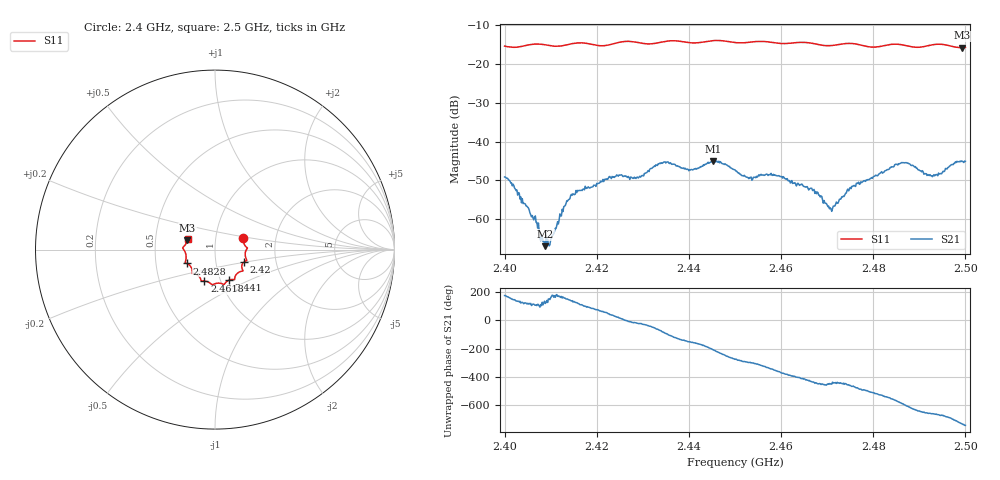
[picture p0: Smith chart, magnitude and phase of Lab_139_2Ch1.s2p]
# Hz S RI R 50
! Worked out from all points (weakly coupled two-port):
!   601 points, 2.4 GHz to 2.5 GHz, reference 50 ohm
!   highest |S21| = -44.96 dB at 2.4453 GHz (marker M1); lowest = -66.9 dB at 2.4088 GHz (marker M2)
!   lowest |S11| = -15.8 dB at 2.4993 GHz (marker M3), VSWR 1.39, Z = 36.5 + j3.84 ohm
!   |S11| at or under -10 dB: start of sweep to end of sweep
!   S12 and S22 are empty: the file has one direction only
!   S11 on the Smith chart (normalised r, x): 2.4 GHz: 1.36, +0.18; 2.42 GHz: 1.36, -0.20; 2.441 GHz: 1.10, -0.39; 2.4618 GHz: 0.84, -0.30; 2.4828 GHz: 0.72, -0.11; 2.5 GHz: 0.73, +0.09
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2.4e9  0.158 0.0628  -0.0035 0.000275  0 0  0 0
2.404833e9  0.1741 0.0147  -0.000661 0.00132  0 0  0 0
2.408833e9  0.1769 0.00261  -0.000224 0.00039  0 0  0 0
2.41e9  0.172 -0.00614  -0.000517 0.000184  0 0  0 0
2.414e9  0.1727 -0.0491  -0.00148 0.00104  0 0  0 0
2.416667e9  0.1775 -0.0608  -0.00086 0.0022  0 0  0 0
2.42e9  0.1594 -0.0704  0.000705 0.00281  0 0  0 0
2.429e9  0.1455 -0.1208  0.00317 -0.00121  0 0  0 0
2.433333e9  0.1117 -0.151  0.00221 -0.00469  0 0  0 0
2.441e9  0.0784 -0.1698  -0.00402 -0.00173  0 0  0 0
2.445333e9  0.0515 -0.1938  -0.00497 0.00269  0 0  0 0
2.45e9  0.0284 -0.1871  0.000351 0.00431  0 0  0 0
2.461833e9  -0.0594 -0.1756  0.00285 -0.00136  0 0  0 0
2.466667e9  -0.0784 -0.1681  0.000755 -0.00239  0 0  0 0
2.471e9  -0.1044 -0.1383  9.67e-06 -0.00126  0 0  0 0
2.475333e9  -0.1271 -0.1331  -0.000701 -0.00256  0 0  0 0
2.482833e9  -0.1574 -0.0769  -0.00427 -8.43e-05  0 0  0 0
2.483333e9  -0.1606 -0.0753  -0.00438 0.000328  0 0  0 0
2.487e9  -0.1629 -0.0598  -0.0029 0.00451  0 0  0 0
2.493e9  -0.1777 0.00436  0.0017 0.00321  0 0  0 0
2.499333e9  -0.154 0.0513  0.00547 -0.00103  0 0  0 0
2.5e9  -0.1522 0.061  0.00521 -0.00198  0 0  0 0
